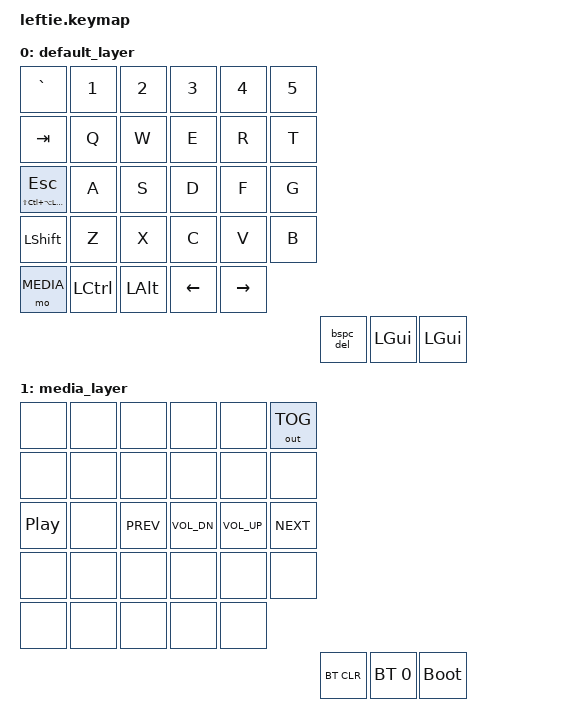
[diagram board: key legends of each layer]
#include <behaviors.dtsi>
#include <dt-bindings/zmk/keys.h>
#include <dt-bindings/zmk/bt.h>
#include <dt-bindings/zmk/outputs.h>

#define DEFAULT 0
#define MEDIA   1

/ {
    keymap {
        compatible = "zmk,keymap";

        default_layer {
            bindings = <
              &kp GRAVE                &kp N1    &kp N2   &kp N3   &kp N4    &kp N5
              &kp TAB                  &kp Q     &kp W    &kp E    &kp R     &kp T
              &mt LS(LC(LA(LGUI))) ESC &kp A     &kp S    &kp D    &kp F     &kp G
              &kp LSHIFT               &kp Z     &kp X    &kp C    &kp V     &kp B
              &mo MEDIA                &kp LCTRL &kp LALT &kp LEFT &kp RIGHT 
                                                                                     &bspc_del &kp LGUI &kp LGUI
            >;
        };

        media_layer {
            bindings = <
              &none    &none &none      &none        &none         &out OUT_TOG
              &none    &none &none      &none        &none         &none
              &kp C_PP &none &kp C_PREV &kp C_VOL_DN &kp C_VOL_UP  &kp C_NEXT
              &none    &none &none      &none        &none         &none
              &none    &none &none      &none        &none 
                                                                           &bt BT_CLR &bt BT_SEL 0 &bootloader
            >;
        };
    };

    behaviors {
        bspc_del: backspace_delete {
            compatible = "zmk,behavior-mod-morph";
            label = "BACKSPACE_DELETE";
            #binding-cells = <0>;
            bindings = <&kp BACKSPACE>, <&kp DELETE>;
            mods = <(MOD_LSFT|MOD_RSFT)>;
            keep-mods = <(MOD_RSFT)>;
        };
    };

};

